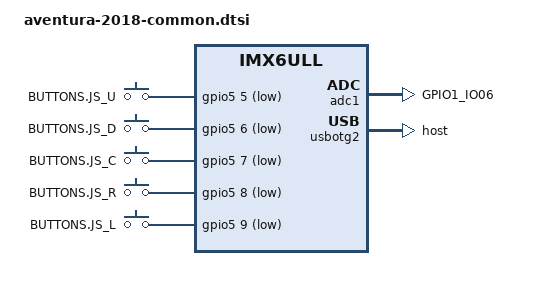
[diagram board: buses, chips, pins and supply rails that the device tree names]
/*
 * Copyright (C) 2020 CompeGPS Team S.L.
 * All rights reserved
 *
 */
/dts-v1/;

#include <dt-bindings/input/input.h>
#include "imx6ull.dtsi"
#include "imx6ul-imx6ull-var-dart-common.dtsi"
#include "stonehenge-big-common.dtsi"
#include "wireless-ti1835.dtsi"

/ {		
	joystick {
		compatible = "gpio-keys";
		pinctrl-names = "default";
		pinctrl-0 = <&pinctrl_joy>;

		joystick_u {
			label = "BUTTONS.JS_U";
			gpios = <&gpio5 5 GPIO_ACTIVE_LOW>;
			linux,code = <KEY_UP>;
			gpio-key,wakeup;
		};

		joystick_d {
			label = "BUTTONS.JS_D";
			gpios = <&gpio5 6 GPIO_ACTIVE_LOW>;
			linux,code = <KEY_DOWN>;
			gpio-key,wakeup;
		};

		joystick_c {
			label = "BUTTONS.JS_C";
			gpios = <&gpio5 7 GPIO_ACTIVE_LOW>;
			linux,code = <KEY_ENTER>;
			gpio-key,wakeup;
		};

		joystick_r {
			label = "BUTTONS.JS_R";
			gpios = <&gpio5 8 GPIO_ACTIVE_LOW>;
			linux,code = <KEY_RIGHT>;
			gpio-key,wakeup;
		};

		joystick_l {
			label = "BUTTONS.JS_L";
			gpios = <&gpio5 9 GPIO_ACTIVE_LOW>;
			linux,code = <KEY_LEFT>;
			gpio-key,wakeup;
		};

	};

	init-gpios-aventura {
		compatible = "gpio-leds";
		pinctrl-names = "default";
		pinctrl-0 = <&pinctrl_sdcard>;
	};
};

&adc1 {
	pinctrl-names = "default";
	pinctrl-0 = <&pinctrl_adc1>;
	status = "okay";
};

&usbotg2 {
	dr_mode = "host";
	disable-over-current;
	status = "okay";
};

&iomuxc {
	imx6ul-evk {
		pinctrl_sdcard: sdcardgrp {
			fsl,pins = <								
                MX6UL_PAD_CSI_DATA02__GPIO4_IO23                0x1b0b0 /* SD_SWITCH */
                MX6UL_PAD_ENET1_TX_EN__GPIO2_IO05               0x1b0b0 /* SD_DETECT */				
			>;			
		};

		pinctrl_joy: joy1grp {
			fsl,pins = <
				MX6UL_PAD_SNVS_TAMPER5__GPIO5_IO05		0x110b0
				MX6UL_PAD_SNVS_TAMPER6__GPIO5_IO06		0x110b0
				MX6UL_PAD_SNVS_TAMPER7__GPIO5_IO07		0x110b0
				MX6UL_PAD_SNVS_TAMPER8__GPIO5_IO08		0x110b0
				MX6UL_PAD_SNVS_TAMPER9__GPIO5_IO09		0x110b0
			>;
		};		
		
		pinctrl_adc1: adc1grp {
			fsl,pins = <
				MX6UL_PAD_GPIO1_IO06__GPIO1_IO06 0xb0
			>;
		};	
	};
};
